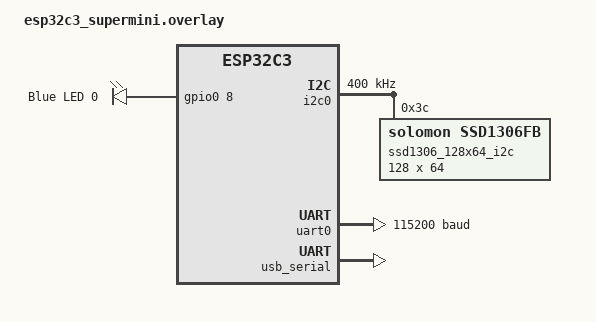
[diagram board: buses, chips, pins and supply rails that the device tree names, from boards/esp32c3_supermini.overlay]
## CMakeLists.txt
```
# SPDX-License-Identifier: Apache-2.0

cmake_minimum_required(VERSION 3.20.0)

find_package(Zephyr REQUIRED HINTS $ENV{ZEPHYR_BASE})
project(esp32c3_supermini-uart0)

target_sources(app PRIVATE src/main.c src/led.c)
```

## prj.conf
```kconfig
CONFIG_GPIO=y
CONFIG_DISPLAY=y
CONFIG_I2C=y
CONFIG_MAIN_STACK_SIZE=2048
#CONFIG_DEBUG=y
#CONFIG_DEBUG_OPTIMIZATIONS=y
#CONFIG_AMS_AS5600=y
#CONFIG_LSM6DS0=y
CONFIG_SERIAL=y
CONFIG_RING_BUFFER=y
CONFIG_UART_INTERRUPT_DRIVEN=y
```

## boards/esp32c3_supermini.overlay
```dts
/*
 * Copyright (c) 2024 Arrel Neumiller
 * SPDX-License-Identifier: Apache-2.0
 */

/ {
    chosen {
        zephyr,display = &ssd1306_128x64_i2c;
    };
};


&blue_led_0 {
    gpios = <&gpio0 8 GPIO_ACTIVE_HIGH>;
    label = "Blue LED 0";
};

&i2c0 {
        clock-frequency = <400000>; /* 400 kHz - speed up writes */

/* https://docs.zephyrproject.org/latest/build/dts/api/bindings/display/solomon%2Cssd1306fb-i2c.html */

    ssd1306_128x64_i2c: ssd1306@3c {
        compatible = "solomon,ssd1306fb";
        reg = <0x3c>; /* I2C address */
        width = <128>; /* Required */
        height = <64>; /* Required */
        segment-offset = <0>; /* Required */
        page-offset = <0>; /* Required */
        display-offset = <0>; /* Required */
        multiplex-ratio = <63>; /* Required */
        prechargep = <0x10>; /* Required (0x22 is a commonly used value) */
        status = "okay";
    };
};

&spim2_default {
    status = "disabled";
};

/*
*   9600: Use horizontal timebase   1 ms to view\decode with oscilloscope
* 115200: Use horizontal timebase 100 µs to view\decode with oscilloscope
* 921600: Use horizontal timebase 10 µs to view\decode with oscilloscope
*/
&uart0 {
	status = "okay";
	current-speed = <115200>;
	pinctrl-0 = <&uart0_default>;
	pinctrl-names = "default";
};

&usb_serial {
	status = "okay";
};
```

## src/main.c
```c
#include <zephyr/kernel.h>
#include <zephyr/drivers/gpio.h>
#include <zephyr/drivers/uart.h>
#include <zephyr/sys/ring_buffer.h>
#include <string.h>

#define UART0_NODE DT_NODELABEL(uart0)

static const struct device *uart_dev = DEVICE_DT_GET(UART0_NODE);
static const char *test_str = "This is a test string sent over uart.\n";

#define RING_BUF_SIZE 2048
RING_BUF_DECLARE(tx_ring_buf, RING_BUF_SIZE);

static void uart_callback(const struct device *dev, void *user_data)
{
	uint8_t c;
	if (ring_buf_get(&tx_ring_buf, &c, 1) > 0) {
		uart_fifo_fill(dev, &c, 1);
	} else {
		uart_irq_tx_disable(dev);
	}
}

void send_serial(const char *cmd)
{
	size_t len = strlen(cmd);
	ring_buf_put(&tx_ring_buf, cmd, len);
	uart_irq_tx_enable(uart_dev);
}

void receive_serial()
{
	uint8_t c;
	while (uart_poll_in(uart_dev, &c) == 0) {
		printk("%c", c);
	}
}

int main(void)
{
	if (!device_is_ready(uart_dev)) {
		printk("Device not ready\n");
		return -1;
	}

	uart_irq_callback_set(uart_dev, uart_callback);
	uart_irq_tx_enable(uart_dev);

	while (1) {
		// for (int i = 0; test_str[i] != '\0'; i++) {
		// 	uart_poll_out(uart_dev, test_str[i]);
		// }

		send_serial("G1 X100 F6000\n");
		// printf("Sent gcode G1 X100 F6000\n");

		k_msleep(500);

		receive_serial();
	}
	return 0;
}
```

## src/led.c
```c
#include <zephyr/kernel.h>
#include <zephyr/drivers/gpio.h>
#include <zephyr/device.h>
#include <stdio.h>
#include "led.h"

#define LED_SLEEP_TIME_MS 1000 // Sleep for 1 second
#define LED0_NODE         DT_ALIAS(led0)

static const struct gpio_dt_spec led = GPIO_DT_SPEC_GET(LED0_NODE, gpios);
#define STACK_SIZE_LED_THREAD 1024
#define PRIORITY_LED_THREAD   10

// Timing constants in milliseconds
#define HEARTBEAT_PULSE 100
#define CYCLE_TIME      1000 // Total cycle time 1 second

void led_thread_proc(void)
{
	printf("Entering LED thread proc\n");
	int ret;

	if (!gpio_is_ready_dt(&led)) {
		printf("Error: LED GPIO port not ready\n");
		return;
	}

	ret = gpio_pin_configure_dt(&led, GPIO_OUTPUT_ACTIVE);
	if (ret < 0) {
		printf("Error configuring LED GPIO pin\n");
		return;
	}

	while (1) {
		uint32_t start_time = k_uptime_get_32();
		uint32_t next_time = start_time;

		// First beat
		gpio_pin_set_dt(&led, 1);
		next_time += HEARTBEAT_PULSE;
		k_sleep(K_TIMEOUT_ABS_MS(next_time));

		gpio_pin_set_dt(&led, 0);
		next_time += HEARTBEAT_PULSE;
		k_sleep(K_TIMEOUT_ABS_MS(next_time));

		// Second beat
		gpio_pin_set_dt(&led, 1);
		next_time += HEARTBEAT_PULSE;
		k_sleep(K_TIMEOUT_ABS_MS(next_time));

		gpio_pin_set_dt(&led, 0);
		next_time += HEARTBEAT_PULSE;
		k_sleep(K_TIMEOUT_ABS_MS(next_time));

		// Wait remainder of cycle
		next_time = start_time + CYCLE_TIME;
		k_sleep(K_TIMEOUT_ABS_MS(next_time));
		printf("Total cycle: %dms\n\n", k_uptime_get_32() - start_time);
	}
}

K_THREAD_DEFINE(toggle_led_tid, STACK_SIZE_LED_THREAD, led_thread_proc, NULL, NULL, NULL,
		PRIORITY_LED_THREAD, 0, 0);
```
